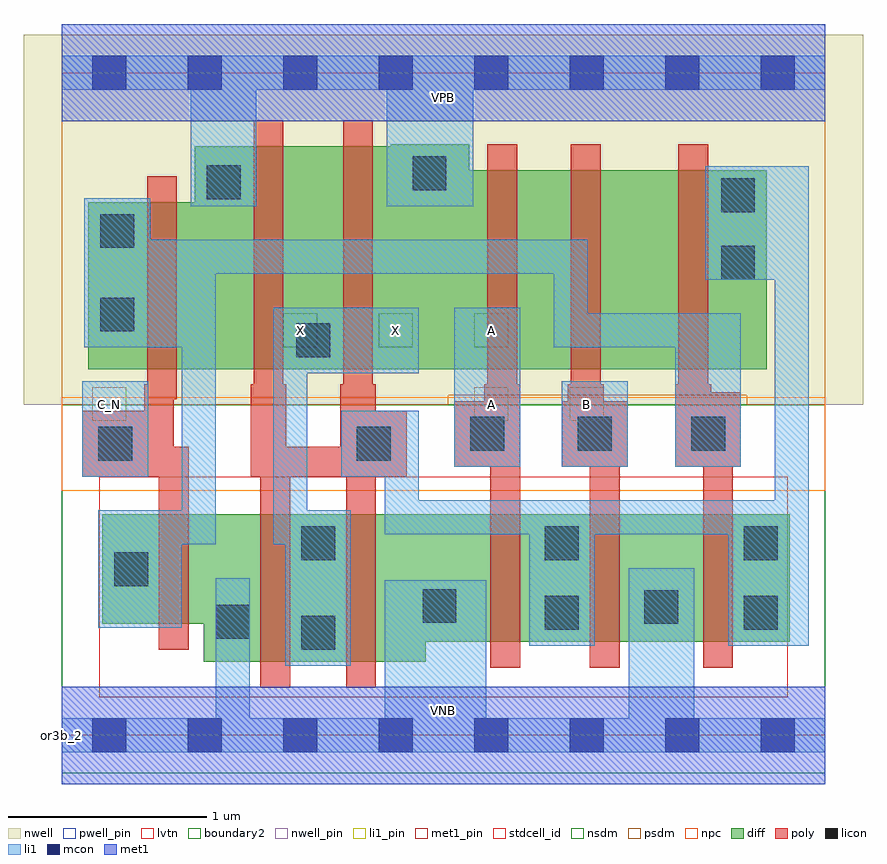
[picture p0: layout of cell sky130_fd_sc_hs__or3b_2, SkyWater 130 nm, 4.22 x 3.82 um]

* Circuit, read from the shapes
.subckt sky130_fd_sc_hs__or3b_2 A B C_N VGND VNB VPB VPWR X
XM1 VGND C_N n1 VNB sky130_fd_pr__nfet_01v8_lvt w=0.55 l=0.15
XM2 X n2 VGND VNB sky130_fd_pr__nfet_01v8_lvt w=0.74 l=0.15 m=2
XM3 n2 A VGND VNB sky130_fd_pr__nfet_01v8_lvt w=0.64 l=0.15
XM4 VGND B n2 VNB sky130_fd_pr__nfet_01v8_lvt w=0.64 l=0.15
XM5 n2 n1 VGND VNB sky130_fd_pr__nfet_01v8_lvt w=0.64 l=0.15
XM6 VPWR C_N n1 VPB sky130_fd_pr__pfet_01v8 w=0.84 l=0.15
XM7 X n2 VPWR VPB sky130_fd_pr__pfet_01v8 w=1.12 l=0.15 m=2
XM8 n3 A VPWR VPB sky130_fd_pr__pfet_01v8 w=1 l=0.15
XM9 n4 B n3 VPB sky130_fd_pr__pfet_01v8 w=1 l=0.15
XM10 n2 n1 n4 VPB sky130_fd_pr__pfet_01v8 w=1 l=0.15
.ends

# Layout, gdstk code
import gdstk
lib = gdstk.Library(unit=1e-6, precision=1e-09)
def R(c, l, rs):  # rectangles x0, y0, x1, y1
    for r in rs: c.add(gdstk.rectangle(r[:2], r[2:], *l))
def A(c, l, x, y, w, h, nx, ny, dx, dy):  # array of equal rectangles
    R(c, l, [(x+i*dx, y+j*dy, x+i*dx+w, y+j*dy+h) for i in range(nx) for j in range(ny)])
def P(c, l, *ps):  # polygons
    for p in ps: c.add(gdstk.Polygon(p, *l))
nwell_pin = (64, 16)
nwell = (64, 20)
diff = (65, 20)
poly = (66, 20)
licon = (66, 44)
li1_pin = (67, 16)
li1 = (67, 20)
mcon = (67, 44)
met1_pin = (68, 16)
met1 = (68, 20)
stdcell_id = (81, 4)
nsdm = (93, 44)
psdm = (94, 20)
npc = (95, 20)
pwell_pin = (122, 16)
lvtn = (125, 44)
boundary2 = (236, 0)

sky130_fd_sc_hs__or3b_2 = lib.new_cell('sky130_fd_sc_hs__or3b_2')
R(sky130_fd_sc_hs__or3b_2, nwell_pin, [(0,3.085,3.84,3.33)])
R(sky130_fd_sc_hs__or3b_2, nwell, [(-0.19,1.66,4.03,3.52)])
P(sky130_fd_sc_hs__or3b_2, diff, [(3.545,2.84),(2.05,2.84),(2.05,2.97),(1.655,2.97),(1.655,2.96),(0.67,2.96),(0.67,2.68),(0.135,2.68),(0.135,1.84),(3.545,1.84)],
  [(3.66,1.11),(0.205,1.11),(0.205,0.56),(0.715,0.56),(0.715,0.37),(1.83,0.37),(1.83,0.47),(3.66,0.47)])
P(sky130_fd_sc_hs__or3b_2, poly, [(0.64,1.45),(0.565,1.45),(0.565,1.69),(0.58,1.69),(0.58,2.81),(0.43,2.81),(0.43,1.765),(0.415,1.765),(0.415,1.63),(0.105,1.63),(0.105,1.3),(0.49,1.3),(0.49,0.43),(0.64,0.43)],
  [(1.735,1.63),(1.58,1.63),(1.58,1.765),(1.565,1.765),(1.565,3.09),(1.415,3.09),(1.415,1.765),(1.4,1.765),(1.4,1.45),(1.13,1.45),(1.13,1.765),(1.115,1.765),(1.115,3.09),(0.965,3.09),(0.965,1.765),(0.95,1.765),(0.95,1.3),(1,1.3),(1,0.24),(1.15,0.24),(1.15,1.3),(1.43,1.3),(1.43,0.24),(1.58,0.24),(1.58,1.3),(1.735,1.3)],
  [(2.305,1.765),(2.29,1.765),(2.29,2.97),(2.14,2.97),(2.14,1.765),(2.125,1.765),(2.125,1.68),(1.975,1.68),(1.975,1.35),(2.155,1.35),(2.155,0.34),(2.305,0.34)],
  [(2.845,1.68),(2.725,1.68),(2.725,1.765),(2.71,1.765),(2.71,2.97),(2.56,2.97),(2.56,1.765),(2.545,1.765),(2.545,1.68),(2.515,1.68),(2.515,1.35),(2.655,1.35),(2.655,0.34),(2.805,0.34),(2.805,1.35),(2.845,1.35)],
  [(3.415,1.725),(3.265,1.725),(3.265,1.765),(3.25,1.765),(3.25,2.97),(3.1,2.97),(3.1,1.765),(3.085,1.765),(3.085,1.35),(3.225,1.35),(3.225,0.34),(3.375,0.34),(3.375,1.35),(3.415,1.35)])
R(sky130_fd_sc_hs__or3b_2, licon, [(1.205,0.43,1.375,0.6), (0.775,0.485,0.945,0.655), (2.43,0.53,2.6,0.7), (3.43,0.53,3.6,0.7), (2.93,0.56,3.1,0.73), (1.815,0.565,1.985,0.735), (0.265,0.75,0.435,0.92), (1.205,0.88,1.375,1.05), (2.43,0.88,2.6,1.05), (3.43,0.88,3.6,1.05), (0.185,1.38,0.355,1.55), (1.485,1.38,1.655,1.55), (2.055,1.43,2.225,1.6), (2.595,1.43,2.765,1.6), (3.165,1.43,3.335,1.6), (1.18,1.9,1.35,2.07), (0.195,2.03,0.365,2.2), (3.315,2.29,3.485,2.46), (0.195,2.45,0.365,2.62), (3.315,2.63,3.485,2.8), (0.73,2.695,0.9,2.865), (1.765,2.74,1.935,2.91)])
A(sky130_fd_sc_hs__or3b_2, li1_pin, 1.115, 1.95, 0.17, 0.17, 3, 1, 0.48, 0)
R(sky130_fd_sc_hs__or3b_2, li1_pin, [(0.155,1.58,0.325,1.75), (2.075,1.58,2.245,1.75), (2.555,1.58,2.725,1.75)])
R(sky130_fd_sc_hs__or3b_2, li1, [(0.105,1.3,0.435,1.78), (1.975,1.35,2.305,2.15), (2.515,1.35,2.845,1.78)])
P(sky130_fd_sc_hs__or3b_2, li1, [(0,-0.085),(0,0.085),(0.775,0.085),(0.775,0.79),(0.945,0.79),(0.945,0.085),(1.625,0.085),(1.625,0.78),(2.135,0.78),(2.135,0.085),(2.85,0.085),(2.85,0.84),(3.18,0.84),(3.18,0.085),(3.84,0.085),(3.84,-0.085)],
  [(0,3.245),(0,3.415),(3.84,3.415),(3.84,3.245),(2.07,3.245),(2.07,2.66),(1.635,2.66),(1.635,3.245),(0.98,3.245),(0.98,2.66),(0.65,2.66),(0.65,3.245)],
  [(1.065,2.15),(1.795,2.15),(1.795,1.82),(1.235,1.82),(1.235,1.13),(1.455,1.13),(1.455,0.35),(1.125,0.35),(1.125,0.96),(1.065,0.96)],
  [(1.625,1.01),(1.625,1.3),(1.405,1.3),(1.405,1.63),(1.795,1.63),(1.795,1.18),(3.585,1.18),(3.585,2.29),(3.235,2.29),(3.235,2.86),(3.755,2.86),(3.755,0.45),(3.35,0.45),(3.35,1.01),(2.68,1.01),(2.68,0.45),(2.35,0.45),(2.35,1.01)],
  [(0.445,2.49),(2.645,2.49),(2.645,2.12),(3.415,2.12),(3.415,1.35),(3.085,1.35),(3.085,1.95),(2.475,1.95),(2.475,2.32),(0.775,2.32),(0.775,0.96),(0.605,0.96),(0.605,0.54),(0.185,0.54),(0.185,1.13),(0.605,1.13),(0.605,1.95),(0.115,1.95),(0.115,2.7),(0.445,2.7)])
A(sky130_fd_sc_hs__or3b_2, mcon, 0.155, -0.085, 0.17, 0.17, 8, 2, 0.48, 3.33)
R(sky130_fd_sc_hs__or3b_2, met1_pin, [(0,0,3.84,0.245), (0,3.085,3.84,3.33)])
R(sky130_fd_sc_hs__or3b_2, met1, [(0,-0.245,3.84,0.245), (0,3.085,3.84,3.575)])
R(sky130_fd_sc_hs__or3b_2, stdcell_id, [(0,0,3.84,3.33)])
R(sky130_fd_sc_hs__or3b_2, nsdm, [(0,-0.19,3.84,1.66)])
P(sky130_fd_sc_hs__or3b_2, psdm, [(3.84,3.52),(0,3.52),(0,1.66),(1.945,1.66),(1.945,1.71),(3.445,1.71),(3.445,1.66),(3.84,1.66)])
R(sky130_fd_sc_hs__or3b_2, npc, [(0,1.23,3.84,1.7)])
R(sky130_fd_sc_hs__or3b_2, pwell_pin, [(0,0,3.84,0.245)])
R(sky130_fd_sc_hs__or3b_2, lvtn, [(0.19,0.19,3.65,1.3)])
R(sky130_fd_sc_hs__or3b_2, boundary2, [(0,0,3.84,3.33)])
sky130_fd_sc_hs__or3b_2.add(gdstk.Label('or3b_2', (0,0), layer=83, texttype=44))
sky130_fd_sc_hs__or3b_2.add(gdstk.Label('VNB', (1.92,0.123), layer=64, texttype=59))
sky130_fd_sc_hs__or3b_2.add(gdstk.Label('VPB', (1.92,3.208), layer=64, texttype=5))
sky130_fd_sc_hs__or3b_2.add(gdstk.Label('VPWR', (1.92,3.208), layer=68, texttype=5))
sky130_fd_sc_hs__or3b_2.add(gdstk.Label('VGND', (1.92,0.123), layer=68, texttype=5))
sky130_fd_sc_hs__or3b_2.add(gdstk.Label('X', (1.2,2.035), layer=67, texttype=5))
sky130_fd_sc_hs__or3b_2.add(gdstk.Label('X', (1.68,2.035), layer=67, texttype=5))
sky130_fd_sc_hs__or3b_2.add(gdstk.Label('A', (2.16,1.665), layer=67, texttype=5))
sky130_fd_sc_hs__or3b_2.add(gdstk.Label('A', (2.16,2.035), layer=67, texttype=5))
sky130_fd_sc_hs__or3b_2.add(gdstk.Label('B', (2.64,1.665), layer=67, texttype=5))
sky130_fd_sc_hs__or3b_2.add(gdstk.Label('C_N', (0.24,1.665), layer=67, texttype=5))

lib.write_gds('sky130_fd_sc_hs__or3b_2.gds')
